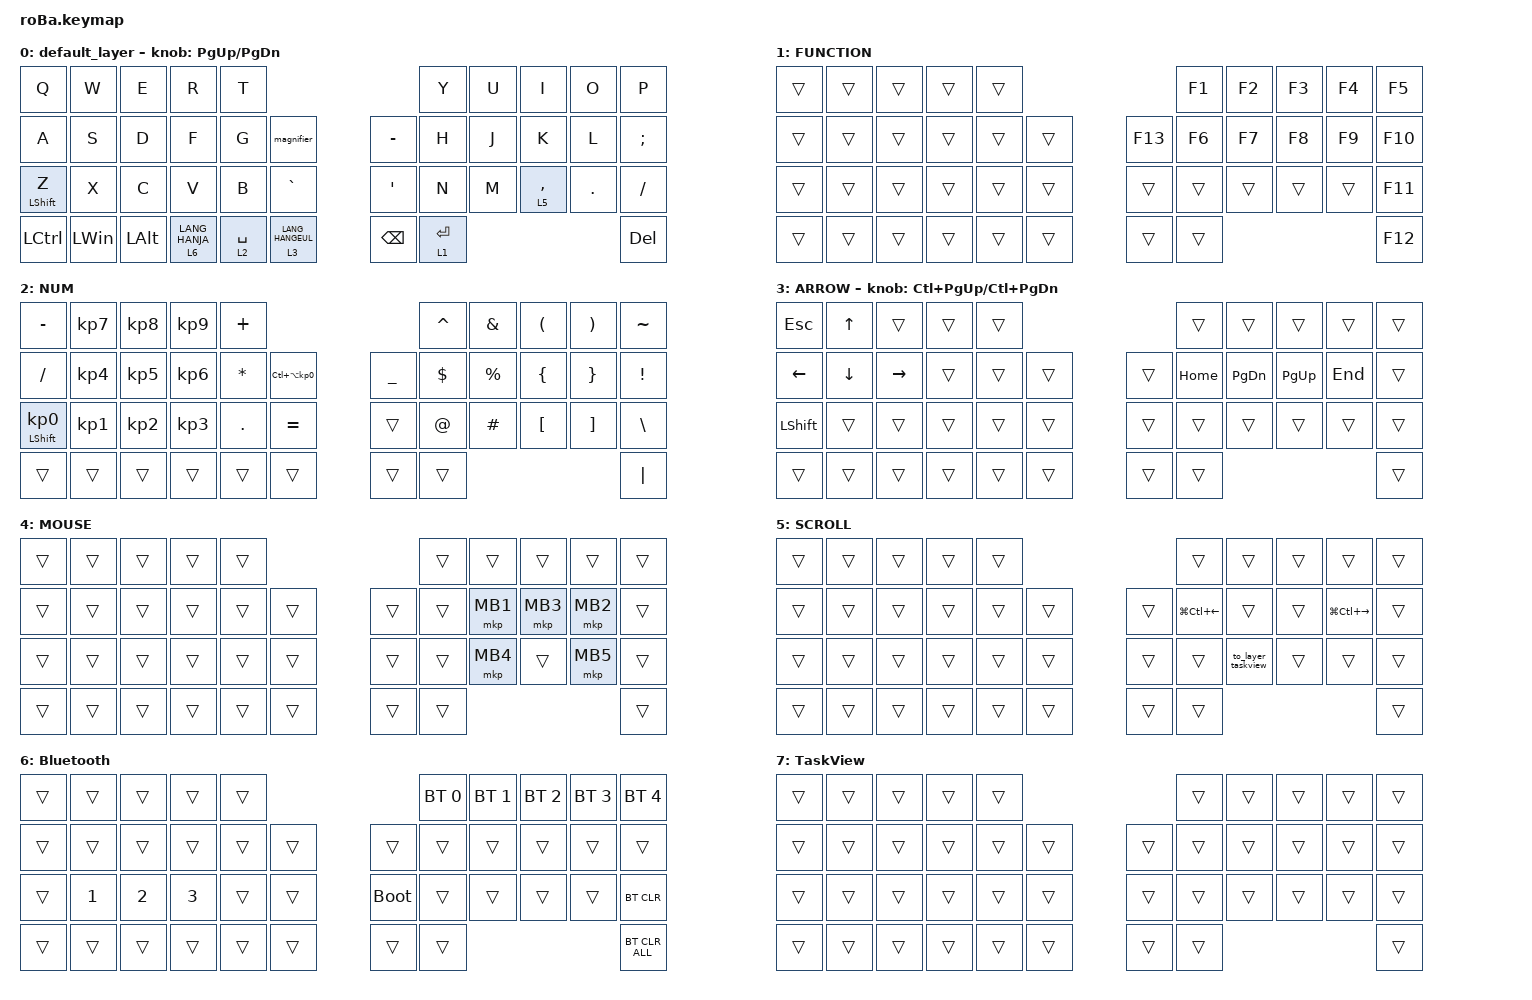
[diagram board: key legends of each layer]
#include <behaviors.dtsi>
#include <dt-bindings/zmk/bt.h>
#include <dt-bindings/zmk/keys.h>
#include <dt-bindings/zmk/pointing.h>

&mt {
    flavor = "balanced";
    quick-tap-ms = <0>;
};

&trackball {
    automouse-layer = <4>;
    scroll-layers = <5>;

    // arrows {
    //     layers = <3>;
    //     bindings =
    //         <&kp RIGHT_ARROW>,
    //         <&kp LEFT_ARROW>,
    //         <&kp UP_ARROW>,
    //         <&kp DOWN_ARROW>;
    //     tick = <10>;
    //     wait-ms = <5>;
    //     tap-ms = <5>;
    // };

    taskview {
        layers = <7>;
        bindings = 
            <&kp TAB>,
            <&kp LS(TAB)>,
            <&kp LEFT_GUI>,
            <&kp LG(D)>;
        tick = <10>;
        wait-ms = <5>;
        tap-ms = <5>;
    };
};

/ {
    combos {
        compatible = "zmk,combos";

        tab {
            bindings = <&kp TAB>;
            key-positions = <11 12>;
        };

        shift_tab {
            bindings = <&kp LS(TAB)>;
            key-positions = <12 13>;
        };

        muhennkann {
            bindings = <&to_layer_0 INT_MUHENKAN>;
            key-positions = <11 10>;
        };

        quotation {
            bindings = <&kp SINGLE_QUOTE>;
            key-positions = <20 21>;
        };

        LessThan {
            bindings = <&kp LESS_THAN>;
            key-positions = <7 8>;
        };

        GreaterThan {
            bindings = <&kp GREATER_THAN>;
            key-positions = <19 20>;
        };

        to_layer_scroll {
            bindings = <&mo 5>;
            key-positions = <18 19>;
        };

        eq {
            bindings = <&kp EQUAL>;
            key-positions = <9 8>;
        };
    };

    macros {
        to_layer_0: to_layer_0 {
            compatible = "zmk,behavior-macro-one-param";
            #binding-cells = <1>;
            bindings = <&to 0 &macro_param_1to1 &kp MACRO_PLACEHOLDER>;
            label = "TO_LAYER_0";
        };

        to_layer_taskview: to_layer_taskview {
            compatible = "zmk,behavior-macro";
            #binding-cells = <0>;
            bindings = <&tog 7 &kt LEFT_ALT>;
            label = "TO_LAYER_TASKVIEW";
        };
    };

    behaviors {
        lt_to_layer_0: lt_to_layer_0 {
            compatible = "zmk,behavior-hold-tap";
            label = "LAYER_TAP_TO_0";
            bindings = <&mo>, <&to_layer_0>;

            #binding-cells = <2>;
            tapping-term-ms = <200>;
        };

        magnifier: magnifier {
            compatible = "zmk,behavior-mod-morph";
            label = "MAGNIFIER";
            bindings = <&kp LG(KP_PLUS)>, <&kp LG(KP_MINUS)>;

            #binding-cells = <0>;
            mods = <(MOD_LSFT|MOD_LCTL)>;
        };

        lmmb: layer_mmb {
            compatible = "zmk,behavior-hold-tap";
            label = "Layer_MMB";
            bindings = <&mo>, <&mkp>;

            #binding-cells = <2>;
            tapping-term-ms = <300>;
        };
    };

    keymap {
        compatible = "zmk,keymap";

        default_layer {
            bindings = <
&kp Q             &kp W         &kp E         &kp R                        &kp T                                                          &kp Y        &kp U  &kp I        &kp O    &kp P
&kp A             &kp S         &kp D         &kp F                        &kp G        &magnifier                         &kp MINUS      &kp H        &kp J  &kp K        &kp L    &kp SEMICOLON
&mt LEFT_SHIFT Z  &kp X         &kp C         &kp V                        &kp B        &kp GRAVE                          &kp SQT        &kp N        &kp M  &lt 5 COMMA  &kp DOT  &kp SLASH
&kp LCTRL         &kp LEFT_WIN  &kp LEFT_ALT  &lt_to_layer_0 6 LANG_HANJA  &lt 2 SPACE  &lt_to_layer_0 3 LANG_HANGEUL      &kp BACKSPACE  &lt 1 ENTER                               &kp DEL
            >;

            sensor-bindings = <&inc_dec_kp PG_UP PAGE_DOWN>;
        };

        FUNCTION {
            bindings = <
&trans  &trans  &trans  &trans  &trans                       &kp F1  &kp F2  &kp F3  &kp F4  &kp F5
&trans  &trans  &trans  &trans  &trans  &trans      &kp F13  &kp F6  &kp F7  &kp F8  &kp F9  &kp F10
&trans  &trans  &trans  &trans  &trans  &trans      &trans   &trans  &trans  &trans  &trans  &kp F11
&trans  &trans  &trans  &trans  &trans  &trans      &trans   &trans                          &kp F12
            >;
        };

        NUM {
            bindings = <
&kp MINUS                   &kp KP_NUMBER_7  &kp KP_NUMBER_8  &kp KP_NUMBER_9  &kp PLUS                                                   &kp CARET    &kp AMPERSAND  &kp LEFT_PARENTHESIS  &kp RIGHT_PARENTHESIS  &kp TILDE
&kp SLASH                   &kp KP_NUMBER_4  &kp KP_NUMBER_5  &kp KP_NUMBER_6  &kp ASTERISK  &kp LC(LA(KP_NUMBER_0))      &kp UNDERSCORE  &kp DOLLAR   &kp PERCENT    &kp LEFT_BRACE        &kp RIGHT_BRACE        &kp EXCLAMATION
&mt LEFT_SHIFT KP_NUMBER_0  &kp KP_NUMBER_1  &kp KP_NUMBER_2  &kp KP_NUMBER_3  &kp PERIOD    &kp EQUAL                    &trans          &kp AT_SIGN  &kp HASH       &kp LEFT_BRACKET      &kp RIGHT_BRACKET      &kp BACKSLASH
&trans                      &trans           &trans           &trans           &trans        &trans                       &trans          &trans                                                                   &kp PIPE
            >;
        };

        ARROW {
            bindings = <
&kp ESCAPE      &kp UP_ARROW    &trans           &trans  &trans                      &trans    &trans         &trans       &trans   &trans
&kp LEFT_ARROW  &kp DOWN_ARROW  &kp RIGHT_ARROW  &trans  &trans  &trans      &trans  &kp HOME  &kp PAGE_DOWN  &kp PAGE_UP  &kp END  &trans
&kp LEFT_SHIFT  &trans          &trans           &trans  &trans  &trans      &trans  &trans    &trans         &trans       &trans   &trans
&trans          &trans          &trans           &trans  &trans  &trans      &trans  &trans                                         &trans
            >;

            sensor-bindings = <&inc_dec_kp LC(PAGE_UP) LC(PAGE_DOWN)>;
        };

        MOUSE {
            bindings = <
&trans  &trans  &trans  &trans  &trans                      &trans  &trans    &trans    &trans    &trans
&trans  &trans  &trans  &trans  &trans  &trans      &trans  &trans  &mkp MB1  &mkp MB3  &mkp MB2  &trans
&trans  &trans  &trans  &trans  &trans  &trans      &trans  &trans  &mkp MB4  &trans    &mkp MB5  &trans
&trans  &trans  &trans  &trans  &trans  &trans      &trans  &trans                                &trans
            >;
        };

        SCROLL {
            bindings = <
&trans  &trans  &trans  &trans  &trans                      &trans                  &trans              &trans  &trans                   &trans
&trans  &trans  &trans  &trans  &trans  &trans      &trans  &kp LG(LC(LEFT_ARROW))  &trans              &trans  &kp LG(LC(RIGHT_ARROW))  &trans
&trans  &trans  &trans  &trans  &trans  &trans      &trans  &trans                  &to_layer_taskview  &trans  &trans                   &trans
&trans  &trans  &trans  &trans  &trans  &trans      &trans  &trans                                                                       &trans
            >;
        };

        Bluetooth {
            bindings = <
&trans  &trans        &trans        &trans        &trans                           &bt BT_SEL 0  &bt BT_SEL 1  &bt BT_SEL 2  &bt BT_SEL 3  &bt BT_SEL 4
&trans  &trans        &trans        &trans        &trans  &trans      &trans       &trans        &trans        &trans        &trans        &trans
&trans  &kp NUMBER_1  &kp NUMBER_2  &kp NUMBER_3  &trans  &trans      &bootloader  &trans        &trans        &trans        &trans        &bt BT_CLR
&trans  &trans        &trans        &trans        &trans  &trans      &trans       &trans                                                  &bt BT_CLR_ALL
            >;
        };

        TaskView {
            bindings = <
&trans  &trans  &trans  &trans  &trans                      &trans  &trans  &trans  &trans  &trans
&trans  &trans  &trans  &trans  &trans  &trans      &trans  &trans  &trans  &trans  &trans  &trans
&trans  &trans  &trans  &trans  &trans  &trans      &trans  &trans  &trans  &trans  &trans  &trans
&trans  &trans  &trans  &trans  &trans  &trans      &trans  &trans                          &trans
            >;
        };
    };
};
